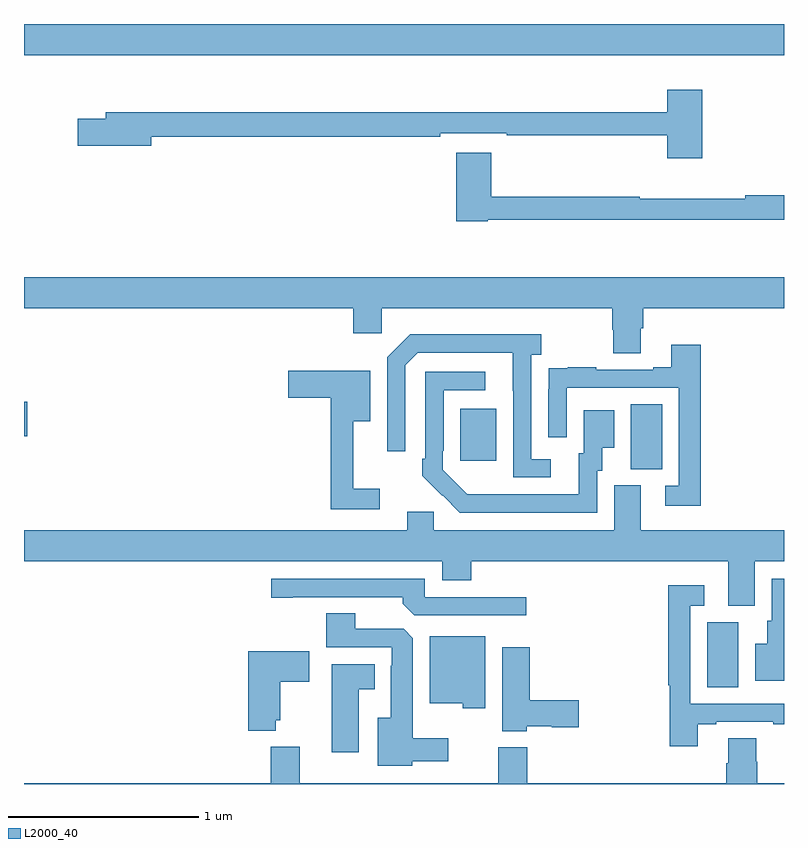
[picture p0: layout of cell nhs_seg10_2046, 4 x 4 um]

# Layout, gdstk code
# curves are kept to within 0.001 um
import gdstk
lib = gdstk.Library(unit=1e-6, precision=1e-09)
def R(c, l, rs):  # rectangles x0, y0, x1, y1
    for r in rs: c.add(gdstk.rectangle(r[:2], r[2:], *l))
def P(c, l, *ps):  # polygons
    for p in ps: c.add(gdstk.Polygon(p, *l))
L2000_40 = (2000, 40)

nhs_seg10_2046 = lib.new_cell('nhs_seg10_2046')
R(nhs_seg10_2046, L2000_40, [(222.596,1277.008,222.76,1277.352), (222.194,1278.157,222.358,1278.5), (221.297,1278.201,221.485,1278.475), (219,1278.329,219.016,1278.512), (219,1280.336,223,1280.5)])
P(nhs_seg10_2046, L2000_40, [(222.569,1280.155),(222.386,1280.155),(222.386,1280.035),(219.431,1280.035),(219.431,1280.001),(219.282,1280.001),(219.282,1279.859),(219.67,1279.859),(219.67,1279.906),(221.192,1279.906),(221.192,1279.926),(221.542,1279.926),(221.542,1279.914),(222.386,1279.914),(222.386,1279.794),(222.569,1279.794)],
  [(221.442,1279.47),(223,1279.47),(223,1279.598),(222.795,1279.598),(222.795,1279.58),(222.242,1279.58),(222.242,1279.591),(221.459,1279.591),(221.459,1279.822),(221.276,1279.822),(221.276,1279.462),(221.442,1279.462)],
  [(222.247,1278.898),(222.26,1278.898),(222.26,1279.004),(223,1279.004),(223,1279.168),(219,1279.168),(219,1279.004),(220.733,1279.004),(220.733,1278.873),(220.884,1278.873),(220.884,1279.004),(222.095,1279.004),(222.095,1278.891),(222.1,1278.891),(222.1,1278.766),(222.247,1278.766)],
  [(221.773,1278.21),(221.67,1278.21),(221.67,1278.758),(221.722,1278.758),(221.722,1278.868),(221.032,1278.868),(220.911,1278.747),(220.911,1278.252),(221.007,1278.252),(221.007,1278.705),(221.073,1278.771),(221.573,1278.771),(221.574,1278.114),(221.773,1278.114)],
  [(222.563,1278.811),(222.407,1278.811),(222.407,1278.694),(222.311,1278.694),(222.311,1278.681),(222.011,1278.681),(222.011,1278.694),(221.863,1278.694),(221.863,1278.687),(221.761,1278.687),(221.761,1278.578),(221.76,1278.578),(221.76,1278.324),(221.856,1278.324),(221.856,1278.585),(222.447,1278.585),(222.447,1278.069),(222.375,1278.069),(222.375,1277.964),(222.563,1277.964)],
  [(220.873,1278.055),(220.733,1278.055),(220.733,1278.41),(220.822,1278.41),(220.822,1278.675),(220.392,1278.675),(220.392,1278.533),(220.615,1278.533),(220.615,1277.946),(220.873,1277.946)],
  [(222.018,1278.15),(222.043,1278.15),(222.043,1278.269),(222.106,1278.269),(222.106,1278.466),(221.945,1278.466),(221.945,1278.24),(221.921,1278.24),(221.921,1278.024),(221.334,1278.025),(221.205,1278.153),(221.205,1278.253),(221.208,1278.253),(221.208,1278.573),(221.428,1278.573),(221.428,1278.669),(221.112,1278.669),(221.112,1278.211),(221.097,1278.211),(221.097,1278.123),(221.294,1277.928),(222.018,1277.928)],
  [(222.847,1277.672),(223,1277.672),(223,1277.836),(222.247,1277.836),(222.247,1278.072),(222.107,1278.072),(222.107,1277.836),(221.157,1277.836),(221.157,1277.934),(221.018,1277.934),(221.018,1277.836),(219,1277.836),(219,1277.672),(221.201,1277.672),(221.201,1277.573),(221.354,1277.573),(221.354,1277.672),(222.707,1277.672),(222.707,1277.437),(222.847,1277.437)],
  [(223,1277.58),(222.936,1277.58),(222.936,1277.358),(222.911,1277.358),(222.911,1277.239),(222.848,1277.239),(222.848,1277.043),(223,1277.043)],
  [(221.644,1277.484),(221.109,1277.484),(221.109,1277.58),(220.302,1277.58),(220.302,1277.479),(220.414,1277.479),(220.414,1277.484),(220.994,1277.484),(220.994,1277.45),(221.055,1277.388),(221.644,1277.388)],
  [(222.547,1276.815),(222.643,1276.815),(222.643,1276.827),(222.943,1276.827),(222.943,1276.815),(223,1276.815),(223,1276.923),(222.507,1276.923),(222.507,1277.439),(222.58,1277.439),(222.58,1277.545),(222.391,1277.545),(222.391,1277.02),(222.399,1277.02),(222.399,1276.698),(222.547,1276.698)],
  [(221.043,1276.619),(221.233,1276.619),(221.233,1276.741),(221.047,1276.741),(221.047,1277.267),(220.998,1277.316),(220.744,1277.316),(220.744,1277.399),(220.592,1277.399),(220.592,1277.22),(220.935,1277.22),(220.935,1277.123),(220.931,1277.123),(220.931,1276.849),(220.862,1276.849),(220.862,1276.595),(221.043,1276.595)],
  [(221.428,1277.278),(221.135,1277.278),(221.135,1276.925),(221.31,1276.925),(221.31,1276.898),(221.428,1276.898)],
  [(221.646,1276.805),(221.777,1276.805),(221.777,1276.798),(221.92,1276.798),(221.92,1276.94),(221.663,1276.94),(221.663,1277.221),(221.516,1277.221),(221.516,1276.778),(221.646,1276.778)],
  [(220.326,1276.835),(220.348,1276.835),(220.348,1277.038),(220.501,1277.038),(220.501,1277.2),(220.181,1277.2),(220.181,1276.781),(220.326,1276.781)],
  [(220.762,1277),(220.846,1277),(220.846,1277.131),(220.619,1277.131),(220.619,1276.668),(220.762,1276.668)],
  [(222.707,1276.742),(222.707,1276.61),(222.695,1276.61),(222.695,1276.504),(221.648,1276.504),(221.648,1276.693),(221.495,1276.693),(221.495,1276.504),(220.45,1276.504),(220.45,1276.696),(220.298,1276.696),(220.298,1276.504),(219,1276.504),(219,1276.5),(223,1276.5),(223,1276.504),(222.86,1276.504),(222.86,1276.617),(222.855,1276.617),(222.855,1276.742)])

lib.write_gds('nhs_seg10_2046.gds')
